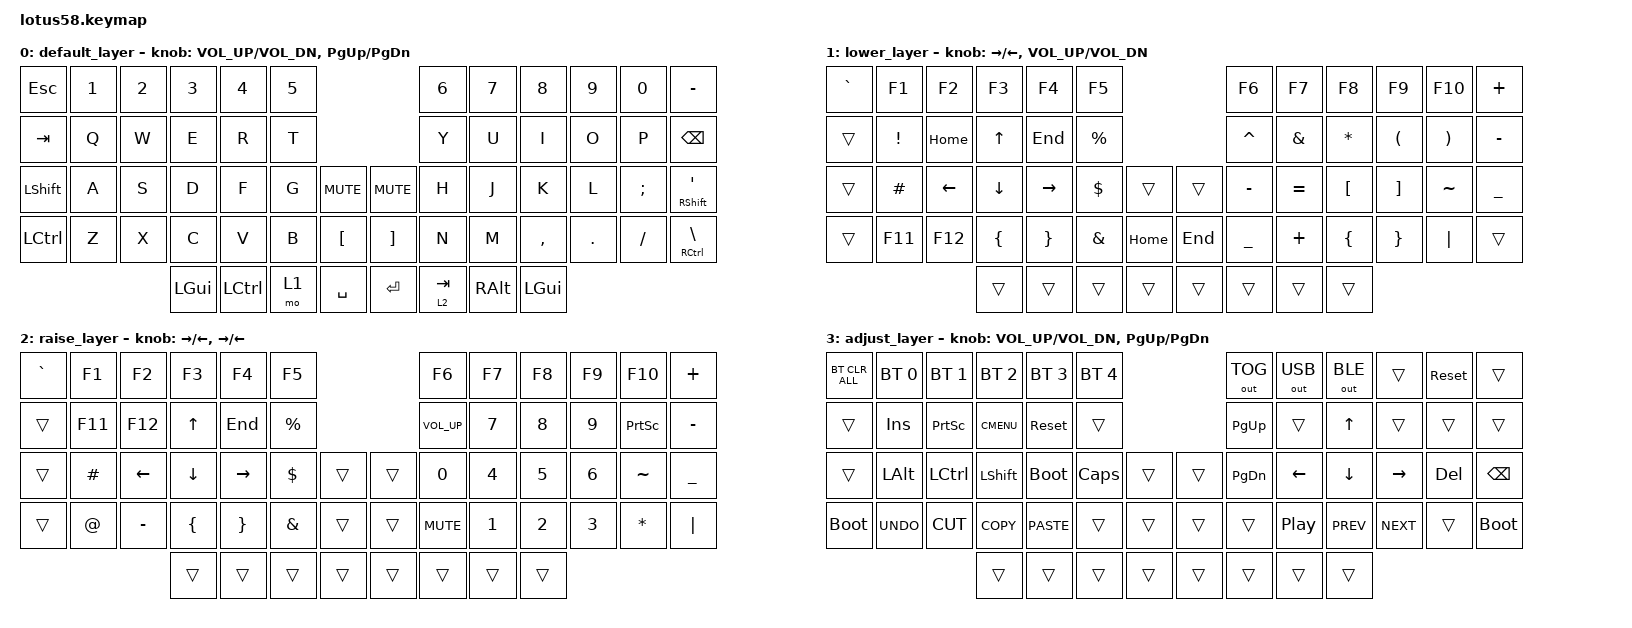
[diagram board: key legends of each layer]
/*
 * Copyright (c) 2022 The ZMK Contributors
 *
 * SPDX-License-Identifier: MIT
 */

#include <behaviors.dtsi>
#include <dt-bindings/zmk/bt.h>
#include <dt-bindings/zmk/keys.h>
#include <dt-bindings/zmk/outputs.h>


/ {
    combos {
        compatible = "zmk,combos";

        combo_dsklg {
            timeout-ms = <100>;
            key-positions = <24 52>;
            layers = <0>;
            bindings = <&kp LGUI>;
        };

        bckspc {
            bindings = <&kp BACKSPACE>;
            key-positions = <33 34>;
        };
    };

    behaviors {
        fofunc: four_ffour {
            compatible = "zmk,behavior-mod-morph";
            #binding-cells = <0>;
            bindings = <&kp N4>, <&kp F4>;

            mods = <(MOD_LALT|MOD_RALT)>;
        };

        sleft: s_left {
            compatible = "zmk,behavior-mod-morph";
            #binding-cells = <0>;
            bindings = <&kp S>, <&kp LEFT>;

            mods = <(MOD_LGUI|MOD_RGUI)>;
        };

        fright: f_right {
            compatible = "zmk,behavior-mod-morph";
            #binding-cells = <0>;
            bindings = <&kp F>, <&kp RIGHT>;

            mods = <(MOD_LGUI|MOD_RGUI)>;
        };

        bootlo: bootlo {
            compatible = "zmk,behavior-mod-morph";
            label = "BOOTLO";
            bindings = <&kp C_MUTE>, <&bootloader>;

            #binding-cells = <0>;
            mods = <(MOD_LCTL|MOD_LSFT|MOD_LALT|MOD_LGUI|MOD_RCTL|MOD_RSFT|MOD_RALT|MOD_RGUI)>;
        };

        bootloplay: bootloplay {
            compatible = "zmk,behavior-mod-morph";
            label = "BOOTLOPLAY";
            bindings = <&kp X>, <&bootloader>;

            #binding-cells = <0>;
            mods = <(MOD_LCTL|MOD_LSFT|MOD_LALT|MOD_LGUI|MOD_RCTL|MOD_RSFT|MOD_RALT|MOD_RGUI)>;
        };
    };

    keymap {
        compatible = "zmk,keymap";

        default_layer {
            //   ------------------------------------------------------------------------------------------------------------
            //  0|  ESC  |  1  |  2  |  3   |  4   |  5   |                     |  6   |  7    |  8    |  9   |   0   |   =   | 11
            // 12|  TAB  |  Q  |  W  |  E   |  R   |  T   |                     |  Y   |  U    |  I    |  O   |   P   |   [   | 23
            // 24|  SFT  |  A  |  S  |  D   |  F   |  G   |  RESET  |  | RESET  |  H   |  J    |  K    |  L   |   ;   | ' SFT | 37
            // 38|  CTRL |  Z  |  X  |  C   |  V   |  B   |  MUTE   |  | PLAY   |  N   |  M    |  ,    |  .   |   /   | \ CTRL| 51
            // 52                    |ENT RS|  ALT | SPACE|DELETE LW|  |ENTER RS| BSPC |  ] LW | RGUI  |                        59

            bindings = <
&kp ESC    &kp N1  &kp N2  &kp N3        &kp N4            &kp N5                                       &kp N6     &kp N7         &kp N8     &kp N9   &kp N0    &kp MINUS
&kp TAB    &kp Q   &kp W   &kp E         &kp R             &kp T                                        &kp Y      &kp U          &kp I      &kp O    &kp P     &kp BACKSPACE
&kp LSHFT  &kp A   &kp S   &kp D         &kp F             &kp G   &kp C_MUTE        &kp C_MUTE         &kp H      &kp J          &kp K      &kp L    &kp SEMI  &mt RSHFT SQT
&kp LCTRL  &kp Z   &kp X   &kp C         &kp V             &kp B   &kp LEFT_BRACKET  &kp RIGHT_BRACKET  &kp N      &kp M          &kp COMMA  &kp DOT  &kp FSLH  &mt RCTRL BSLH
                           &kp LEFT_GUI  &kp LEFT_CONTROL  &mo 1   &kp SPACE         &kp ENTER          &lt 2 TAB  &kp RIGHT_ALT  &kp LGUI
            >;

            sensor-bindings =
                <&inc_dec_kp C_VOL_UP C_VOL_DN>,
                <&inc_dec_kp PG_UP PG_DN>;
        };

        lower_layer {
            // ------------------------------------------------------------------------------------------------------------
            // | `     |  F1 |  F2 |  F3  |  F4  |  F5  |                   |  F6  |  F7   |  F8   |  F9  |  F10  |  F11  |
            // |       |  !  | HOME|   ^  |  END |  %   |                   | VOL^ |  PGUP |  INS  |  ^   |  PSCR |   -   |
            // |       |  #  |  <- |   v  | ->   |  $   |        |  |       | VOLv |    <- |   ^   |  ->  |   ~   |   _   |
            // |       |  @  |  -  |  (   |  )   |  &   |        |  |       | MUTE |  PGDN |   v   |  :   |   *   |   |   |
            //                     |  F11 |      |      |        |  |       |      |       |  F12  |

            bindings = <
&kp GRAVE  &kp F1    &kp F2    &kp F3    &kp F4     &kp F5                        &kp F6     &kp F7     &kp F8            &kp F9                &kp F10    &kp PLUS
&trans     &kp EXCL  &kp HOME  &kp UP    &kp END    &kp PRCNT                     &kp CARET  &kp AMPS   &kp STAR          &kp LEFT_PARENTHESIS  &kp RPAR   &kp MINUS
&trans     &kp HASH  &kp LEFT  &kp DOWN  &kp RIGHT  &kp DLLR   &trans    &trans   &kp MINUS  &kp EQUAL  &kp LEFT_BRACKET  &kp RIGHT_BRACKET     &kp TILDE  &kp UNDER
&trans     &kp F11   &kp F12   &kp LBRC  &kp RBRC   &kp AMPS   &kp HOME  &kp END  &kp UNDER  &kp PLUS   &kp LEFT_BRACE    &kp RIGHT_BRACE       &kp PIPE   &trans
                               &trans    &trans     &trans     &trans    &trans   &trans     &trans     &trans
            >;

            sensor-bindings = <&inc_dec_kp RIGHT LEFT &inc_dec_kp C_VOL_UP C_VOL_DN>;
        };

        raise_layer {
            // ------------------------------------------------------------------------------------------------------------
            // | `     |  F1 |  F2 |  F3  |  F4  |  F5  |                   |  F6  |  F7   |  F8   |  F9  |  F10  |  F11  |
            // |       |  !  | HOME|   ^  |  END |  %   |                   | VOL^ |  PGUP |  INS  |  ^   |  PSCR |   -   |
            // |       |  #  |  <- |   v  | ->   |  $   |        |  |       | VOLv |    <- |   ^   |  ->  |   ~   |   _   |
            // |       |  @  |  -  |  (   |  )   |  &   |        |  |       | MUTE |  PGDN |   v   |  :   |   *   |   |   |
            //                     |  F11 |      |      |        |  |       |      |       |  F12  |

            bindings = <
&kp GRAVE  &kp F1    &kp F2     &kp F3    &kp F4     &kp F5                     &kp F6        &kp F7        &kp F8        &kp F9        &kp F10    &kp PLUS
&trans     &kp F11   &kp F12    &kp UP    &kp END    &kp PRCNT                  &kp C_VOL_UP  &kp N7        &kp N8        &kp N9        &kp PSCRN  &kp MINUS
&trans     &kp HASH  &kp LEFT   &kp DOWN  &kp RIGHT  &kp DLLR   &trans  &trans  &kp N0        &kp NUMBER_4  &kp N5        &kp NUMBER_6  &kp TILDE  &kp UNDER
&trans     &kp AT    &kp MINUS  &kp LBRC  &kp RBRC   &kp AMPS   &trans  &trans  &kp C_MUTE    &kp NUMBER_1  &kp NUMBER_2  &kp NUMBER_3  &kp STAR   &kp PIPE
                                &trans    &trans     &trans     &trans  &trans  &trans        &trans        &trans
            >;

            sensor-bindings = <&inc_dec_kp RIGHT LEFT &inc_dec_kp RIGHT LEFT>;
        };

        adjust_layer {
            // ------------------------------------------------------------------------------------------------------------
            // |BTCLR| BT1  | BT2  |  BT3  |  BT4  |  BT5 |                |OUTTOG|OUTUSB| OUTBT |      | RESET | FLASH |
            // |     | INS  | PSCR | GUI   | RESET |      |                | PGUP |      |   ^   |      |       |       |
            // |     | ALT  | CTRL | SHIFT | FLASH | CAPS |      |  |      | PGDN |   <- |   v   |  ->  |  DEL  | BSPC  |
            // |     | UNDO | CUT  | COPY  | PASTE |      |      |  |      |      |  |>  |  <|<| | |>|> |       |       |
            //                     |       |       |      |      |  |      |      |      |       |

            bindings = <
&bt BT_CLR_ALL   &bt BT_SEL 0  &bt BT_SEL 1  &bt BT_SEL 2  &bt BT_SEL 3  &bt BT_SEL 4                  &out OUT_TOG  &out OUT_USB  &out OUT_BLE  &trans      &sys_reset  &trans
&trans       &kp INS       &kp PSCRN     &kp K_CMENU   &sys_reset    &trans                        &kp PG_UP     &trans        &kp UP        &trans      &trans      &trans
&trans       &kp LALT      &kp LCTRL     &kp LSHFT     &bootloader   &kp CLCK      &trans  &trans  &kp PG_DN     &kp LEFT      &kp DOWN      &kp RIGHT   &kp DEL     &kp BSPC
&bootloader  &kp K_UNDO    &kp K_CUT     &kp K_COPY    &kp K_PASTE   &trans        &trans  &trans  &trans        &kp C_PP      &kp C_PREV    &kp C_NEXT  &trans      &bootloader
                                         &trans        &trans        &trans        &trans  &trans  &trans        &trans        &trans
            >;

            sensor-bindings = <&inc_dec_kp C_VOL_UP C_VOL_DN &inc_dec_kp PG_UP PG_DN>;
        };
    };

    conditional_layers {
        compatible = "zmk,conditional-layers";

        l3 {
            if-layers = <1 2>;
            then-layer = <3>;
        };
    };
};
